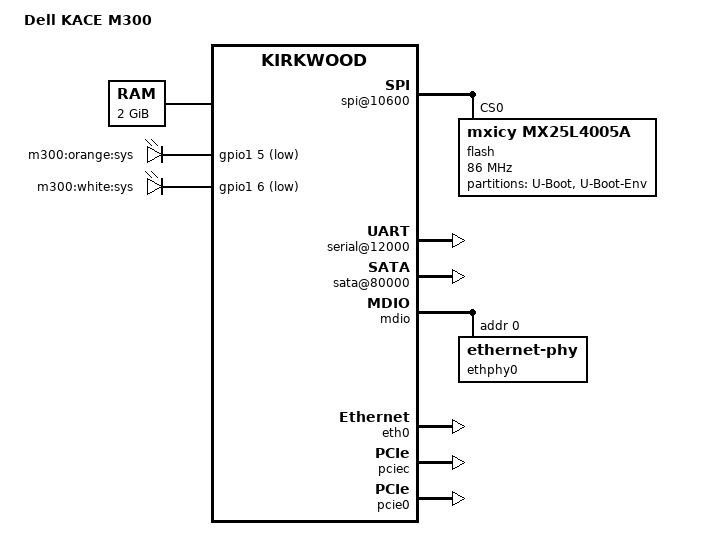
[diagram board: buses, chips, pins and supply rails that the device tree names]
/*
 * Device tree file for Dell KACE M300
 *
 * Copyright (c) 2018-2023, bodhi <mibodhi@gmail.com>
 *
 */

/dts-v1/;

#include "kirkwood.dtsi"
#include "kirkwood-6282.dtsi"

/ {
	model = "Dell KACE M300";
	compatible = "dell,m300", "marvell,kirkwood-88f6282", "marvell,kirkwood";

	memory {
		device_type = "memory";
		reg = <0x00000000 0x80000000>;
	};

	chosen {
		bootargs = "console=ttyS0,115200";
		stdout-path = &uart0;
	};

	ocp@f1000000 {

		pinctrl: pin-controller@10000 {
			pinctrl-names = "default";

			pmx_led_sys_orange: pmx-led-sys-orange {
				marvell,pins = "mpp37";
				marvell,function = "gpio";
			};
                        pmx_led_sys_white: pmx-led-sys-white {
                                marvell,pins = "mpp38";
                                marvell,function = "gpio";
                        };
		};

		spi@10600{
			status = "okay";

			flash@0 {
				#address-cells = <1>;
				#size-cells = <1>;
                                compatible = "mxicy,mx25l4005a", "jedec,spi-nor";
				spi-max-frequency = <86000000>;
				reg = <0>;
				mode = <0>;

				partition@0 {
					reg = <0x0 0x7f000>;
					label = "U-Boot";
				};

				partition@1 {
					reg = <0x7f000 0x1000>;
					label = "U-Boot-Env";
				};
			};
		};

		serial@12000 {
			status = "ok";
		};

		sata@80000 {
			status = "okay";
			nr-ports = <1>;
		};
	};

	gpio-leds {
		compatible = "gpio-leds";
		pinctrl-0 = <&pmx_led_sys_white &pmx_led_sys_orange>;
		pinctrl-names = "default";

		orange-sys {
			label = "m300:orange:sys";
			gpios = <&gpio1 5 GPIO_ACTIVE_LOW>;
		};
		white-sys {
			label = "m300:white:sys";
			gpios = <&gpio1 6 GPIO_ACTIVE_LOW>;
			linux,default-trigger = "default-on";
		};
	};

};

&mdio {
	status = "okay";

	ethphy0: ethernet-phy@0 {
		reg = <0>;
	};
};

&eth0 {
	status = "okay";

	ethernet0-port@0 {
		phy-handle = <&ethphy0>;
	};
};

&pciec {
	status = "okay";
};

&pcie0 {
	status = "okay";
};

